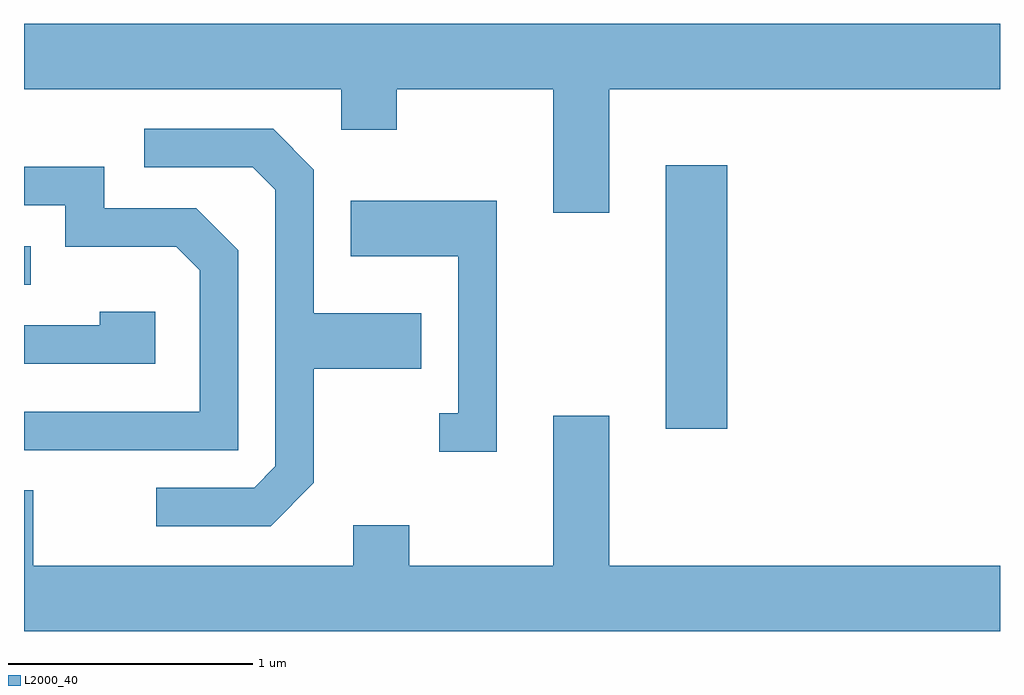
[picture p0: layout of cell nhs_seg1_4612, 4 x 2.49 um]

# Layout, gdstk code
import gdstk
lib = gdstk.Library(unit=1e-6, precision=1e-09)
def R(c, l, rs):  # rectangles x0, y0, x1, y1
    for r in rs: c.add(gdstk.rectangle(r[:2], r[2:], *l))
def P(c, l, *ps):  # polygons
    for p in ps: c.add(gdstk.Polygon(p, *l))
L2000_40 = (2000, 40)

nhs_seg1_4612 = lib.new_cell('nhs_seg1_4612')
R(nhs_seg1_4612, L2000_40, [(326.241,907.066,326.494,908.144), (323.611,907.656,323.638,907.814)])
P(nhs_seg1_4612, L2000_40, [(326.009,908.456),(327.611,908.456),(327.611,908.724),(323.611,908.724),(323.611,908.456),(324.911,908.456),(324.911,908.291),(325.139,908.291),(325.139,908.456),(325.781,908.456),(325.781,907.951),(326.009,907.951)],
  [(324.799,906.844),(324.799,907.311),(325.239,907.311),(325.239,907.539),(324.799,907.539),(324.799,908.127),(324.632,908.294),(324.103,908.294),(324.103,908.136),(324.549,908.136),(324.641,908.044),(324.641,906.912),(324.554,906.824),(324.153,906.824),(324.153,906.666),(324.622,906.666)],
  [(324.489,907.797),(324.317,907.969),(323.939,907.969),(323.939,908.139),(323.611,908.139),(323.611,907.981),(323.781,907.981),(323.781,907.811),(324.234,907.811),(324.331,907.714),(324.331,907.134),(323.611,907.134),(323.611,906.976),(324.489,906.976)],
  [(325.549,907.999),(324.951,907.999),(324.951,907.771),(325.391,907.771),(325.391,907.129),(325.313,907.129),(325.313,906.971),(325.549,906.971)],
  [(324.149,907.544),(323.921,907.544),(323.921,907.489),(323.611,907.489),(323.611,907.331),(324.149,907.331)],
  [(327.611,906.504),(326.009,906.504),(326.009,907.119),(325.781,907.119),(325.781,906.504),(325.189,906.504),(325.189,906.669),(324.961,906.669),(324.961,906.504),(323.649,906.504),(323.649,906.814),(323.611,906.814),(323.611,906.236),(327.611,906.236)])

lib.write_gds('nhs_seg1_4612.gds')
